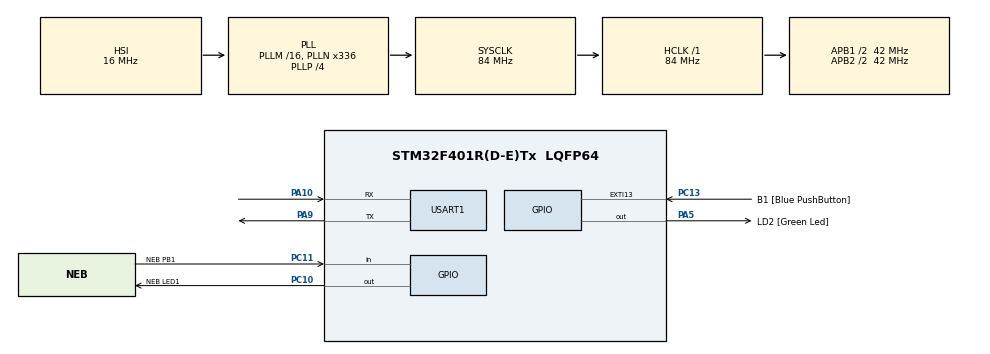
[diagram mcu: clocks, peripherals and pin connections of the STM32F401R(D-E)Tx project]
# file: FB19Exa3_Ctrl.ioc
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Mcu.Family=STM32F4
Mcu.Name=STM32F401R(D-E)Tx
Mcu.Package=LQFP64
NVIC.PriorityGroup=NVIC_PRIORITYGROUP_2
PA10.Mode=Asynchronous
PA10.Signal=USART1_RX
PA13.GPIO_Label=TMS
PA13.Mode=Serial_Wire
PA13.Signal=SYS_JTMS-SWDIO
PA14.GPIO_Label=TCK
PA14.Mode=Serial_Wire
PA14.Signal=SYS_JTCK-SWCLK
PA5.GPIO_Label=LD2 [Green Led]
PA5.GPIO_Mode=GPIO_MODE_OUTPUT_PP
PA5.GPIO_PuPd=GPIO_NOPULL
PA5.GPIO_Speed=GPIO_SPEED_FREQ_LOW
PA5.Signal=GPIO_Output
PA9.Mode=Asynchronous
PA9.Signal=USART1_TX
PB3.GPIO_Label=SWO
PB3.Signal=SYS_JTDO-SWO
PC10.GPIO_Label=NEB LED1
PC10.Signal=GPIO_Output
PC11.GPIO_Label=NEB PB1
PC11.GPIO_PuPd=GPIO_NOPULL
PC11.Signal=GPIO_Input
PC13-ANTI_TAMP.GPIO_Label=B1 [Blue PushButton]
PC13-ANTI_TAMP.GPIO_ModeDefaultEXTI=GPIO_MODE_IT_FALLING
PC13-ANTI_TAMP.GPIO_PuPd=GPIO_NOPULL
PC13-ANTI_TAMP.Signal=GPXTI13
PC14-OSC32_IN.Mode=LSE-External-Oscillator
PC14-OSC32_IN.Signal=RCC_OSC32_IN
PC15-OSC32_OUT.Mode=LSE-External-Oscillator
PC15-OSC32_OUT.Signal=RCC_OSC32_OUT
PH0\ -\ OSC_IN.Mode=HSE-External-Clock-Source
PH0\ -\ OSC_IN.Signal=RCC_OSC_IN
PH1\ -\ OSC_OUT.Mode=HSE-External-Clock-Source
PH1\ -\ OSC_OUT.Signal=RCC_OSC_OUT
ProjectManager.HeapSize=0x200
ProjectManager.StackSize=0x400
ProjectManager.TargetToolchain=STM32CubeIDE
RCC.48MHZClocksFreq_Value=48000000
RCC.AHBFreq_Value=84000000
RCC.APB1CLKDivider=RCC_HCLK_DIV2
RCC.APB1Freq_Value=42000000
RCC.APB1TimFreq_Value=84000000
RCC.APB2CLKDivider=RCC_HCLK_DIV2
RCC.APB2Freq_Value=42000000
RCC.APB2TimFreq_Value=84000000
RCC.CortexFreq_Value=84000000
RCC.HCLKFreq_Value=84000000
RCC.HSE_VALUE=8000000
RCC.HSI_VALUE=16000000
RCC.PLLN=336
RCC.PLLP=RCC_PLLP_DIV4
RCC.PLLQ=7
RCC.SYSCLKFreq_VALUE=84000000
RCC.SYSCLKSource=RCC_SYSCLKSOURCE_PLLCLK
RCC.VCOOutputFreq_Value=336000000
USART1.VirtualMode=VM_ASYNC
board=NUCLEO-F401RE

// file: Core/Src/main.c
/* USER CODE BEGIN Header */
/*
 *  Filename:       main.c
 *  Platform(s):    STM32F401x
 *  Project:        FB19Exa3_Ctrl
 *  Created:        December 14, 2023
 *  Description:    This file implements the main() function of this application.
 *
 *  Glossary:       LED:    Light Emitting Diode
 *                  NEB:    Nucleo Expansion Board for RS-232 & RS-485
 *                          communication by Bitcontrol GmbH, Switzerland,
 *                          v2.2 or higher
 *                  PB:     Push Button
 *
 *                  Responsibilities
 *                  ================
 *                  This application transmits and receives messages as FB19
 *                  Controller containing a 32bit number representing the
 *                  status of a single digital input (PB1 on the NEB).
 *
 *                  It transmits messages containing the status of a single
 *                  digital input (PB1 on the NEB) as FB19 Controller to both
 *                  its FB19 Subscribers.
 *
 *                  Thereafter it queries the response messages of its FB19
 *                  Subscribers for the status of their single digital input
 *                  (PB1 on the NEB). It then passes this information along
 *                  from one subscriber to the other.
 *
 *                  In addition, the application switches a single digital
 *                  output (LED1 on the NEB) on or off, depending on the value
 *                  of the number in the received messages. If it is not equal
 *                  to zero, it switches its output on, or off otherwise.
 *
 *                  This ping-pong schema is repeated periodically twice per
 *                  second.
 *                  USART1 is used to display this process on a serial terminal.
 *
 *                  FB19 Libraries
 *                  ==============
 *                  - FB19CtrlLib
 *
 *                  Configuration
 *                  =============
 *                  FB19 Bitrate: 100kbit/s
 *                  FB19 Controller bus address: 0 (fix per specification)
 *                  FB19 Bus: RS-485 (not RS-232!)
 *                  USART1 RS-232 parameters: 115200/8/N/1
 *                  Used SoC resources:
 *                  - GPIOA, bit 8: FB19Subs RS-485 driver Data Output Enable
 *                  - GPIOC, bit 10: Digital output for setting LED1 state
 *                  - GPIOC, bit 11: Digital input for sensing PB1 state
 *                  - TIM2: FB19Ctrl
 *                  - USART1 (UART1): RS-232 Terminal
 *                  - USART2 (UART2): FB19Ctrl
 *                  - USART6 (UART3): Unused
 *                  Hardware:
 *                  - Nucleo Board: Nucleo-64 STM32F401
 *                    - Solder bridge settings different from default:
 *                      SB13: Off, SB14: Off, SB61: Off, SB62: On, SB63: On
 *                  - Nucleo Expansion Board for RS-232 & RS-485 communication
 *                    by Bitcontrol GmbH, Switzerland, v2.2 or higher
 *                    - This board contains jumpers that relate to the bus
 *                      system:
 *                      - JP4, JP5: Connect pins 1 & 2
 *                        This selects RS-485 for UART2 on J2
 *                      - JP6, JP7: Don't care
 *                        If pins 2 & 3 are connected, UART3 can be used as
 *                        RS-232 interface on J4
 *                      - JP8, JP9: Connect pins 1 & 2
 *                        This allows daisy chaining the boards via J1 and J2
 *                    - The board contains furthermore a user push button and a
 *                      user LED
 *
 *  Notes:          The initial version of this file was generated using
 *                  STMicroelectronics STM32CubeMX, v6.8.0.
 *                  Bitcontrol GmbH is grateful for ST's free of charge tools
 *                  and recommends them to any programmer, from hobbyist to
 *                  professional.
 *
 *                  Local symbols and functions that are user code specific
 *                  start with my_ or MY_ respectively for easy spotting.
 *
 *  Author:         Andreas Isenegger
 *  Copyright:      2023, Bitcontrol GmbH, Switzerland.
 *                  All rights reserved.
 */
/* USER CODE END Header */
#include "main.h"

/* USER CODE BEGIN Includes */
#include <stdio.h> // For printf()

#include "FB19Ctrl.h"
#include "FB19CtrlCfg.h"
#include "FB19LibMsg.h"
/* USER CODE END Includes */

/* USER CODE BEGIN PD */
#define MY_BIT_RATE                     100000 // [bit/s]
#define MY_MAIN_LOOP_PERIOD_MS          500    // [ms]
#define MY_MESSAGE_IDENTIFIER           FB19_MSG_ID_USR_LOWEST
#define MY_SUBSCRIBER1_BUS_ADDRESS      FB19_BUS_ADDR_SUBS_LOWEST
#define MY_SUBSCRIBER2_BUS_ADDRESS      (FB19_BUS_ADDR_SUBS_LOWEST + 1)
/* USER CODE END PD */

UART_HandleTypeDef huart1;

void SystemClock_Config(void);
static void MX_GPIO_Init(void);
static void MX_USART1_UART_Init(void);
/* USER CODE BEGIN PFP */
/* These convenience functions capture the different actions. */
static int myStartFB19(void);
static void myCtrlProcRespMsg(BOOL* btn1Pressed, BOOL* btn2Pressed);
static void myCtrlSendToSubs(BOOL payload, int busAddress);
static void myWaitForTick(void);
/* USER CODE END PFP */

int main(void)
{

    /* MCU Configuration--------------------------------------------------------*/

    /* Reset of all peripherals, Initializes the Flash interface and the Systick. */
    HAL_Init();

    /* USER CODE BEGIN Init */
    __HAL_DBGMCU_FREEZE_TIM2();
    /* USER CODE END Init */

    /* Configure the system clock */
    SystemClock_Config();

    /* USER CODE BEGIN SysInit */
    HAL_SetTickFreq(HAL_TICK_FREQ_100HZ);
    /* USER CODE END SysInit */

    /* Initialize all configured peripherals */
    MX_GPIO_Init();
    MX_USART1_UART_Init();
    /* USER CODE BEGIN 2 */
    int status = myStartFB19(); // Start Controller and Subscriber instances
    if (status != R_SUCCESS)
    {
        return 1; // Terminate application, return error value
    }
    /* USER CODE END 2 */

    /* Infinite loop */
    /* USER CODE BEGIN WHILE */
    printf("FB19Exa3_Ctrl application started.\n");
    BOOL buttonPressedLocal = FALSE;
    BOOL buttonPressedSubs1 = FALSE;
    BOOL buttonPressedSubs2 = FALSE;
    int rel_time_ms = 0;
    while (1)
    {
        /* Call the FB19 handler function periodically. */
        FB19Ctrl_handler(&myInstFB19Ctrl);

        myCtrlProcRespMsg(&buttonPressedSubs1, &buttonPressedSubs2);

        if (rel_time_ms == 0)
        {
            /* Perform domain specific tasks. */
            buttonPressedLocal = GPIOC->IDR & (1 << 11) ? FALSE : TRUE; // 3.3V when NOT pressed
            if (buttonPressedSubs1 || buttonPressedSubs2)
            {
                GPIOC->ODR &= ~(1 << 10); // Switch LED1 on
            }
            else
            {
                GPIOC->ODR |= (1 << 10); // Switch LED1 off
            }
            myCtrlSendToSubs(buttonPressedLocal || buttonPressedSubs2, MY_SUBSCRIBER1_BUS_ADDRESS);
            myCtrlSendToSubs(buttonPressedLocal || buttonPressedSubs1, MY_SUBSCRIBER2_BUS_ADDRESS);
        }

        /* Slow this loop down as desired. */
        myWaitForTick(); // Tick frequency is 100Hz; see HAL_SetTickFreq() above
        rel_time_ms += uwTickFreq; // It's actually the period, not the frequency
        rel_time_ms %= MY_MAIN_LOOP_PERIOD_MS;
        /* USER CODE END WHILE */

        /* USER CODE BEGIN 3 */
    }
    return 0; // If ever reached
    /* USER CODE END 3 */
}

void SystemClock_Config(void)
{
  RCC_OscInitTypeDef RCC_OscInitStruct = {0};
  RCC_ClkInitTypeDef RCC_ClkInitStruct = {0};

  /** Configure the main internal regulator output voltage
  */
  __HAL_RCC_PWR_CLK_ENABLE();
  __HAL_PWR_VOLTAGESCALING_CONFIG(PWR_REGULATOR_VOLTAGE_SCALE2);

  /** Initializes the RCC Oscillators according to the specified parameters
  * in the RCC_OscInitTypeDef structure.
  */
  RCC_OscInitStruct.OscillatorType = RCC_OSCILLATORTYPE_HSI;
  RCC_OscInitStruct.HSIState = RCC_HSI_ON;
  RCC_OscInitStruct.HSICalibrationValue = RCC_HSICALIBRATION_DEFAULT;
  RCC_OscInitStruct.PLL.PLLState = RCC_PLL_ON;
  RCC_OscInitStruct.PLL.PLLSource = RCC_PLLSOURCE_HSI;
  RCC_OscInitStruct.PLL.PLLM = 16;
  RCC_OscInitStruct.PLL.PLLN = 336;
  RCC_OscInitStruct.PLL.PLLP = RCC_PLLP_DIV4;
  RCC_OscInitStruct.PLL.PLLQ = 7;
  if (HAL_RCC_OscConfig(&RCC_OscInitStruct) != HAL_OK)
  {
    Error_Handler();
  }

  /** Initializes the CPU, AHB and APB buses clocks
  */
  RCC_ClkInitStruct.ClockType = RCC_CLOCKTYPE_HCLK|RCC_CLOCKTYPE_SYSCLK
                              |RCC_CLOCKTYPE_PCLK1|RCC_CLOCKTYPE_PCLK2;
  RCC_ClkInitStruct.SYSCLKSource = RCC_SYSCLKSOURCE_PLLCLK;
  RCC_ClkInitStruct.AHBCLKDivider = RCC_SYSCLK_DIV1;
  RCC_ClkInitStruct.APB1CLKDivider = RCC_HCLK_DIV2;
  RCC_ClkInitStruct.APB2CLKDivider = RCC_HCLK_DIV2;

  if (HAL_RCC_ClockConfig(&RCC_ClkInitStruct, FLASH_LATENCY_2) != HAL_OK)
  {
    Error_Handler();
  }
}

static void MX_USART1_UART_Init(void)
{

  huart1.Instance = USART1;
  huart1.Init.BaudRate = 115200;
  huart1.Init.WordLength = UART_WORDLENGTH_8B;
  huart1.Init.StopBits = UART_STOPBITS_1;
  huart1.Init.Parity = UART_PARITY_NONE;
  huart1.Init.Mode = UART_MODE_TX_RX;
  huart1.Init.HwFlowCtl = UART_HWCONTROL_NONE;
  huart1.Init.OverSampling = UART_OVERSAMPLING_16;
  if (HAL_UART_Init(&huart1) != HAL_OK)
  {
    Error_Handler();
  }
  /* USER CODE BEGIN USART1_Init 2 */
    setvbuf(stdin, NULL, _IONBF, 0); // Disable console input buffering
  /* USER CODE END USART1_Init 2 */

}

static void MX_GPIO_Init(void)
{
  GPIO_InitTypeDef GPIO_InitStruct = {0};

  /* GPIO Ports Clock Enable */
  __HAL_RCC_GPIOC_CLK_ENABLE();
  __HAL_RCC_GPIOH_CLK_ENABLE();
  __HAL_RCC_GPIOA_CLK_ENABLE();
  __HAL_RCC_GPIOB_CLK_ENABLE();

  /*Configure GPIO pin Output Level */
  HAL_GPIO_WritePin(LD2_GPIO_Port, LD2_Pin, GPIO_PIN_RESET);

  /*Configure GPIO pin Output Level */
  HAL_GPIO_WritePin(NEB_LED1_GPIO_Port, NEB_LED1_Pin, GPIO_PIN_RESET);

  /*Configure GPIO pin : B1_Pin */
  GPIO_InitStruct.Pin = B1_Pin;
  GPIO_InitStruct.Mode = GPIO_MODE_IT_FALLING;
  GPIO_InitStruct.Pull = GPIO_NOPULL;
  HAL_GPIO_Init(B1_GPIO_Port, &GPIO_InitStruct);

  /*Configure GPIO pin : LD2_Pin */
  GPIO_InitStruct.Pin = LD2_Pin;
  GPIO_InitStruct.Mode = GPIO_MODE_OUTPUT_PP;
  GPIO_InitStruct.Pull = GPIO_NOPULL;
  GPIO_InitStruct.Speed = GPIO_SPEED_FREQ_LOW;
  HAL_GPIO_Init(LD2_GPIO_Port, &GPIO_InitStruct);

  /*Configure GPIO pin : NEB_LED1_Pin */
  GPIO_InitStruct.Pin = NEB_LED1_Pin;
  GPIO_InitStruct.Mode = GPIO_MODE_OUTPUT_PP;
  GPIO_InitStruct.Pull = GPIO_NOPULL;
  GPIO_InitStruct.Speed = GPIO_SPEED_FREQ_LOW;
  HAL_GPIO_Init(NEB_LED1_GPIO_Port, &GPIO_InitStruct);

  /*Configure GPIO pin : NEB_PB1_Pin */
  GPIO_InitStruct.Pin = NEB_PB1_Pin;
  GPIO_InitStruct.Mode = GPIO_MODE_INPUT;
  GPIO_InitStruct.Pull = GPIO_NOPULL;
  HAL_GPIO_Init(NEB_PB1_GPIO_Port, &GPIO_InitStruct);

}

/* USER CODE BEGIN 4 */
/*
 * FB19 Controller related: Process the response messages from the Subscribers.
 */
static void myCtrlProcRespMsg(BOOL* btn1Pressed, BOOL* btn2Pressed)
{
    static uint32_t noiseCharFaultCount;
    static uint32_t rxFaultCount;
    static uint32_t txFaultCount;

    int32_t buttonPressed;
    FB19Msg_t msg;
    msg.dscr.msgId = MY_MESSAGE_IDENTIFIER;
    int status;
    uint32_t tmp;

    status = FB19Ctrl_fetch(&myInstFB19Ctrl, &msg);
    // status equals R_SUCCESS if a response has been received or the response
    // has timed out. In the latter case, the error FB19_DRV_ERR_BUS_RSP_FRM_TMO
    // is set inside the message.
    if (status == R_SUCCESS)
    {
        switch (msg.dscr.errSts)
        {
        case FB19_DRV_ERR_NONE: // Message received?
            FB19LibMsg_removeInt32(&msg, &buttonPressed); // Assume success, ignore return value
            printf("FB19Ctrl rxd msg from BA %i with val=%li\n",
                msg.dscr.dstAddr, buttonPressed);
            if (msg.dscr.dstAddr == MY_SUBSCRIBER1_BUS_ADDRESS)
            {
                *btn1Pressed = buttonPressed;
            }
            else
            {
                *btn2Pressed = buttonPressed;
            }
            break;
        case FB19_DRV_ERR_BUS_RSP_FRM_TMO:
            printf("FB19Ctrl response message from BA %i timed out\n",
                msg.dscr.dstAddr);
            break;
        default:
            printf("FB19Ctrl rxd msg from BA %i with error=%i\n",
                msg.dscr.dstAddr, msg.dscr.errSts);
            break;
        }
    }

    /* Display error counts if they have changed. */
    FB19Ctrl_getNoiseFaultCount(&myInstFB19Ctrl, &tmp); // Processing return value optional
    if (noiseCharFaultCount != tmp)
    {
        noiseCharFaultCount = tmp;
        printf("FB19Ctrl noise char fault count=%lu\n", noiseCharFaultCount);
    }
    FB19Ctrl_getRxFaultCount(&myInstFB19Ctrl, &tmp); // Processing return value optional
    if (rxFaultCount != tmp)
    {
        rxFaultCount = tmp;
        printf("FB19Ctrl Rx fault count=%lu\n", rxFaultCount);
    }
    FB19Ctrl_getTxFaultCount(&myInstFB19Ctrl, &tmp); // Processing return value optional
    if (txFaultCount != tmp)
    {
        txFaultCount = tmp;
        printf("FB19Ctrl Tx fault count=%lu\n", txFaultCount);
    }
}

/*
 * FB19 Controller related: Submit a request message with the provided payload
 * value for transmission to a Subscriber.
 */
static void myCtrlSendToSubs(BOOL payload, int busAddress)
{
    FB19Msg_t msg; // Initialize these fields for avoiding side effects
    msg.dscr.dstAddr = busAddress;
    msg.dscr.msgId = MY_MESSAGE_IDENTIFIER;
    msg.dscr.pldSize = 0;

    int status;

    FB19LibMsg_appendInt32(&msg, payload); // Assume success, ignore return value
    status = FB19Ctrl_submit(&myInstFB19Ctrl, &msg);
    printf("FB19Ctrl_submit() to BA %i ", busAddress);
    if (status == R_SUCCESS)
    {
        printf("succeeded with val=%i\n", payload);
    }
    else
    {
        printf("failed\n");
    }
}

static int myStartFB19(void)
{
    int status;

    printf("FB19Ctrl version: %s\n", FB19Ctrl_getVersion());
    status = FB19Ctrl_start(&myInstFB19Ctrl, &myCfgFB19Ctrl, MY_BIT_RATE);
    if (status == R_SUCCESS)
    {
        printf("FB19Ctrl_start() succeeded\n");
    }
    else
    {
        printf("FB19Ctrl_start() failed\n");
    }
    printf("\n");

    return status;
}

static void myWaitForTick(void)
{
    volatile uint32_t tickCnt = HAL_GetTick();
    while (tickCnt == HAL_GetTick());
}
/* USER CODE END 4 */

void Error_Handler(void)
{
    __disable_irq();
    while (1)
    {
    }
}
